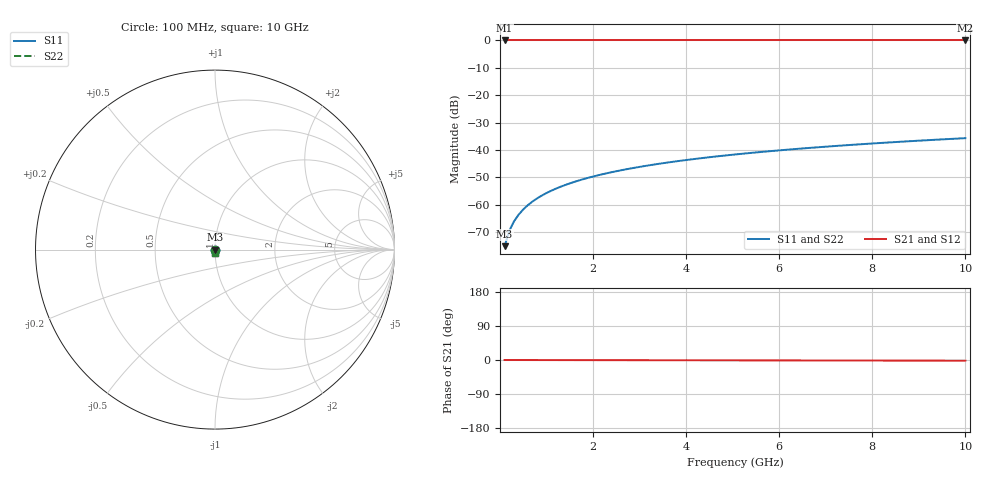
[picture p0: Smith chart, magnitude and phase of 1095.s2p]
# Hz S RI R 50.00
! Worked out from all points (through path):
!   100 points, 100 MHz to 10 GHz, reference 50 ohm
!   highest |S21| = 0.00 dB at 100 MHz (marker M1); lowest = 0.0 dB at 10 GHz (marker M2)
!   lowest |S11| = -75.1 dB at 100 MHz (marker M3), VSWR 1.00, Z = 50 - j0.0164 ohm
!   |S11| at or under -10 dB: start of sweep to end of sweep
!   |S22| runs from -75.1 to -35.7 dB; largest |S21 - S12| = 0
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1e8  6.32e-05 -0.000164  0.9999 -0.000313  0.9999 -0.000313  6.32e-05 -0.000164
2e8  6.32e-05 -0.000328  0.9999 -0.000627  0.9999 -0.000627  6.32e-05 -0.000328
3e8  6.31e-05 -0.000492  0.9999 -0.00094  0.9999 -0.00094  6.31e-05 -0.000492
4e8  6.27e-05 -0.000655  0.9999 -0.00125  0.9999 -0.00125  6.27e-05 -0.000655
5e8  6.23e-05 -0.000819  0.9999 -0.00157  0.9999 -0.00157  6.23e-05 -0.000819
6e8  6.17e-05 -0.000983  0.9999 -0.00188  0.9999 -0.00188  6.17e-05 -0.000983
7e8  6.1e-05 -0.00115  0.9999 -0.00219  0.9999 -0.00219  6.1e-05 -0.00115
8e8  6.01e-05 -0.00131  0.9999 -0.00251  0.9999 -0.00251  6.01e-05 -0.00131
9e8  5.92e-05 -0.00147  0.9999 -0.00282  0.9999 -0.00282  5.92e-05 -0.00147
1.1e9  5.7e-05 -0.0018  0.9999 -0.00345  0.9999 -0.00345  5.7e-05 -0.0018
1.4e9  5.28e-05 -0.00229  0.9999 -0.00439  0.9999 -0.00439  5.28e-05 -0.00229
1.8e9  4.58e-05 -0.00295  0.9999 -0.00564  0.9999 -0.00564  4.58e-05 -0.00295
2.1e9  3.94e-05 -0.00344  0.9999 -0.00659  0.9999 -0.00659  3.94e-05 -0.00344
2.5e9  2.94e-05 -0.0041  0.9999 -0.00784  0.9999 -0.00784  2.94e-05 -0.0041
2.9e9  1.78e-05 -0.00475  0.9999 -0.0091  0.9999 -0.0091  1.78e-05 -0.00475
3.4e9  9.03e-07 -0.00558  0.9999 -0.0107  0.9999 -0.0107  9.03e-07 -0.00558
4.2e9  -3.15e-05 -0.00689  0.9998 -0.0132  0.9998 -0.0132  -3.15e-05 -0.00689
5.1e9  -7.6e-05 -0.00837  0.9998 -0.016  0.9998 -0.016  -7.6e-05 -0.00837
5.9e9  -0.000123 -0.00969  0.9997 -0.0185  0.9997 -0.0185  -0.000123 -0.00969
6.7e9  -0.000176 -0.011  0.9996 -0.021  0.9996 -0.021  -0.000176 -0.011
8.4e9  -0.000311 -0.0138  0.9995 -0.0264  0.9995 -0.0264  -0.000311 -0.0138
1e10  -0.000467 -0.0164  0.9993 -0.0315  0.9993 -0.0315  -0.000467 -0.0164
